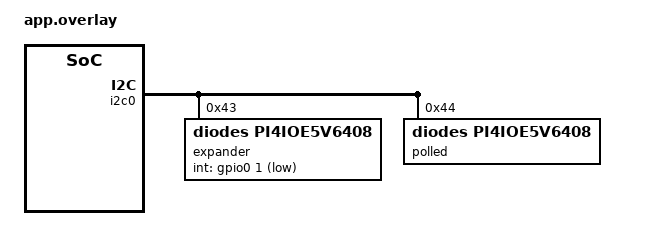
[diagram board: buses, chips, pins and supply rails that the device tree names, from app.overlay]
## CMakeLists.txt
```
# SPDX-FileCopyrightText: Copyright The Zephyr Project Contributors
# SPDX-License-Identifier: Apache-2.0

cmake_minimum_required(VERSION 3.28.0)
find_package(Zephyr REQUIRED HINTS $ENV{ZEPHYR_BASE})
project(pi4ioe5v6408_interrupts)

target_sources(app PRIVATE
  src/main.c
)
```

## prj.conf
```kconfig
# SPDX-FileCopyrightText: Copyright The Zephyr Project Contributors
# SPDX-License-Identifier: Apache-2.0

CONFIG_ZTEST=y
CONFIG_GPIO=y
CONFIG_GPIO_EMUL=y
CONFIG_I2C=y
CONFIG_I2C_EMUL=y
CONFIG_EMUL=y
CONFIG_GPIO_PI4IOE5V6408_POLL_PERIOD_MS=5
CONFIG_COMPILER_WARNINGS_AS_ERRORS=y
```

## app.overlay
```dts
/*
 * SPDX-FileCopyrightText: Copyright The Zephyr Project Contributors
 * SPDX-License-Identifier: Apache-2.0
 */

&i2c0 {
	status = "okay";

	expander: gpio@43 {
		compatible = "diodes,pi4ioe5v6408";
		reg = <0x43>;
		gpio-controller;
		#gpio-cells = <2>;
		ngpios = <8>;
		int-gpios = <&gpio0 1 GPIO_ACTIVE_LOW>;
	};

	polled: gpio@44 {
		compatible = "diodes,pi4ioe5v6408";
		reg = <0x44>;
		gpio-controller;
		#gpio-cells = <2>;
		ngpios = <8>;
	};
};
```

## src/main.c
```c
/*
 * SPDX-FileCopyrightText: Copyright The Zephyr Project Contributors
 * SPDX-License-Identifier: Apache-2.0
 */

#include <string.h>

#include <zephyr/drivers/emul.h>
#include <zephyr/drivers/gpio/gpio_emul.h>
#include <zephyr/drivers/i2c_emul.h>
#include <zephyr/kernel.h>
#include <zephyr/sys/atomic.h>
#include <zephyr/ztest.h>

#define DEVICE_ID    0x01U
#define DEFAULT      0x09U
#define PULL_ENABLE  0x0BU
#define INPUT        0x0FU
#define MASK         0x11U
#define STATUS       0x13U
#define REGISTER_END 0x14U

static const struct device *const devices[] = {
	DEVICE_DT_GET(DT_NODELABEL(expander)),
	DEVICE_DT_GET(DT_NODELABEL(polled)),
};
static const struct gpio_dt_spec irq = GPIO_DT_SPEC_GET(DT_NODELABEL(expander), int_gpios);

struct chip {
	uint8_t regs[REGISTER_END];
	uint8_t input;
	uint8_t pending;
	uint8_t fail_reg;
	uint8_t first_pull;
	uint32_t failures;
	uint32_t id_reads;
	uint32_t acknowledgements;
	int64_t first_failure;
	int64_t last_failure;
	bool fail_read;
	bool lands;
	bool reset;
	bool pull_written;
};

static struct chip chips[2];
static K_MUTEX_DEFINE(model_lock);
static K_SEM_DEFINE(activity, 0, 1);
static atomic_t calls[2][8];
static bool startup_serviced;

static int update_irq(void)
{
	bool active = chips[0].reset || (chips[0].pending & ~chips[0].regs[MASK]) != 0U;

	return gpio_emul_input_set(irq.port, irq.pin, !active);
}

static int transfer(const struct emul *target, struct i2c_msg *msgs, int num_msgs, int addr)
{
	struct chip *chip = &chips[addr == 0x43 ? 0 : 1];
	bool read = num_msgs == 2;
	uint8_t reg = msgs[0].buf[0];
	bool fail;
	int ret;

	ARG_UNUSED(target);
	if ((addr != 0x43 && addr != 0x44) || reg >= REGISTER_END ||
	    (read &&
	     (msgs[0].len != 1U || msgs[1].len != 1U || (msgs[1].flags & I2C_MSG_READ) == 0U)) ||
	    (!read && (num_msgs != 1 || msgs[0].len != 2U))) {
		return -EIO;
	}

	k_mutex_lock(&model_lock, K_FOREVER);
	fail = chip->failures > 0U && chip->fail_reg == reg && chip->fail_read == read;
	if (fail) {
		if (chip->first_failure == 0) {
			chip->first_failure = k_uptime_get();
		}
		chip->last_failure = k_uptime_get();
		chip->failures--;
	}
	if (!fail || chip->lands) {
		if (read) {
			switch (reg) {
			case DEVICE_ID:
				msgs[1].buf[0] = 0xA0U | (chip->reset ? BIT(1) : 0U);
				chip->reset = false;
				chip->id_reads++;
				break;
			case INPUT:
				msgs[1].buf[0] = chip->input;
				break;
			case STATUS:
				msgs[1].buf[0] = chip->pending;
				chip->pending = 0U;
				break;
			default:
				msgs[1].buf[0] = chip->regs[reg];
				break;
			}
		} else if (reg == DEVICE_ID && (msgs[0].buf[1] & BIT(0)) != 0U) {
			memset(chip->regs, 0, sizeof(chip->regs));
			chip->regs[0x07U] = 0xFFU;
			chip->regs[PULL_ENABLE] = 0xFFU;
			chip->reset = true;
		} else {
			chip->regs[reg] = msgs[0].buf[1];
			if (reg == PULL_ENABLE && !chip->pull_written) {
				chip->first_pull = msgs[0].buf[1];
				chip->pull_written = true;
			}
		}
	}
	if (read && reg == STATUS && !fail) {
		chip->acknowledgements++;
		if (chip == &chips[0] && chip->acknowledgements == 1U) {
			/* Latch an edge after init's status read, before the host IRQ is armed. */
			chip->input = 1U;
			chip->pending = 1U;
		}
	}
	ret = update_irq();
	k_mutex_unlock(&model_lock);
	k_sem_give(&activity);
	return ret < 0 ? ret : (fail ? -EIO : 0);
}

static int emul_init(const struct emul *target, const struct device *parent)
{
	ARG_UNUSED(target);
	ARG_UNUSED(parent);
	return gpio_pin_configure_dt(&irq, GPIO_INPUT);
}

static const struct i2c_emul_api emul_api = {.transfer = transfer};

EMUL_DT_DEFINE(DT_NODELABEL(expander), emul_init, NULL, NULL, &emul_api, NULL);
EMUL_DT_DEFINE(DT_NODELABEL(polled), emul_init, NULL, NULL, &emul_api, NULL);

static void callback(const struct device *dev, struct gpio_callback *cb, uint32_t pins)
{
	size_t index = dev == devices[0] ? 0U : 1U;

	ARG_UNUSED(cb);
	zassert_equal_ptr(k_current_get(), k_work_queue_thread_get(&k_sys_work_q));
	zassert_not_equal(pins, 0U);
	for (size_t i = 0; i < 8U; i++) {
		if ((pins & BIT(i)) != 0U) {
			atomic_inc(&calls[index][i]);
		}
	}
	k_sem_give(&activity);
}

static void barrier_handler(struct k_work *work)
{
	ARG_UNUSED(work);
}

static void flush(void)
{
	static K_WORK_DEFINE(barrier, barrier_handler);
	struct k_work_sync sync;

	zassert_true(k_work_submit(&barrier) >= 0);
	(void)k_work_flush(&barrier, &sync);
}

static void input_set(size_t index, uint8_t input)
{
	struct chip *chip = &chips[index];
	uint8_t changed;

	k_mutex_lock(&model_lock, K_FOREVER);
	changed = chip->input ^ input;
	chip->input = input;
	chip->pending |= changed & (input ^ chip->regs[DEFAULT]);
	zassert_ok(update_irq());
	k_mutex_unlock(&model_lock);
}

static uint32_t acknowledgements(void)
{
	uint32_t value;

	k_mutex_lock(&model_lock, K_FOREVER);
	value = chips[0].acknowledgements;
	k_mutex_unlock(&model_lock);
	return value;
}

static void wait_ack(uint32_t previous)
{
	int64_t deadline = k_uptime_get() + 1000;

	while (acknowledgements() <= previous) {
		zassert_true(k_uptime_get() < deadline, "Interrupt service did not recover");
		(void)k_sem_take(&activity, K_MSEC(5));
	}
	flush();
}

static void wait_calls(size_t index, size_t pin, atomic_val_t expected)
{
	int64_t deadline = k_uptime_get() + 1000;

	while (atomic_get(&calls[index][pin]) < expected) {
		zassert_true(k_uptime_get() < deadline, "Missing pin %zu callback", pin);
		(void)k_sem_take(&activity, K_MSEC(5));
	}
	flush();
	zassert_equal(atomic_get(&calls[index][pin]), expected);
}

static void fail_at(uint8_t reg, bool read, bool lands, uint32_t count)
{
	k_mutex_lock(&model_lock, K_FOREVER);
	chips[0].fail_reg = reg;
	chips[0].fail_read = read;
	chips[0].lands = lands;
	chips[0].failures = count;
	chips[0].first_failure = 0;
	chips[0].last_failure = 0;
	k_mutex_unlock(&model_lock);
}

static void *setup(void)
{
	static struct gpio_callback callbacks[2];
	int64_t deadline = k_uptime_get() + 1000;

	while (acknowledgements() < 2U && k_uptime_get() < deadline) {
		(void)k_sem_take(&activity, K_MSEC(5));
	}
	startup_serviced = acknowledgements() >= 2U && gpio_pin_get_dt(&irq) == 0;
	flush();

	for (size_t i = 0; i < ARRAY_SIZE(devices); i++) {
		zassert_true(device_is_ready(devices[i]));
		gpio_init_callback(&callbacks[i], callback, 0xFFU);
		zassert_ok(gpio_add_callback(devices[i], &callbacks[i]));
	}
	return NULL;
}

static void before(void *fixture)
{
	static const struct i2c_dt_spec buses[] = {
		I2C_DT_SPEC_GET(DT_NODELABEL(expander)),
		I2C_DT_SPEC_GET(DT_NODELABEL(polled)),
	};

	ARG_UNUSED(fixture);
	fail_at(0U, false, false, 0U);
	flush();
	for (size_t i = 0; i < ARRAY_SIZE(devices); i++) {
		uint8_t scratch;

		for (size_t pin = 0; pin < 8U; pin++) {
			zassert_ok(gpio_pin_interrupt_configure(devices[i], pin, GPIO_INT_DISABLE));
		}
		input_set(i, 0U);
		for (size_t pin = 0; pin < 8U; pin++) {
			zassert_ok(gpio_pin_configure(devices[i], pin, GPIO_INPUT));
			zassert_ok(
				gpio_pin_interrupt_configure(devices[i], pin, GPIO_INT_EDGE_BOTH));
		}
		if (i == 1U) {
			k_msleep(10);
		}
		for (size_t pin = 0; pin < 8U; pin++) {
			zassert_ok(gpio_pin_interrupt_configure(devices[i], pin, GPIO_INT_DISABLE));
		}
		zassert_ok(i2c_reg_read_byte_dt(&buses[i], STATUS, &scratch));
	}
	flush();
	for (size_t i = 0; i < ARRAY_SIZE(devices); i++) {
		for (size_t pin = 0; pin < 8U; pin++) {
			atomic_clear(&calls[i][pin]);
		}
	}
}

ZTEST(pi4ioe5v6408, test_reset_and_initial_pulls)
{
	for (size_t i = 0; i < ARRAY_SIZE(chips); i++) {
		zassert_equal(chips[i].id_reads, 1U);
		zassert_false(chips[i].reset);
		zassert_equal(chips[i].first_pull, 0xFEU);
	}
}

ZTEST(pi4ioe5v6408, test_startup_interrupt_is_serviced)
{
	zassert_true(startup_serviced, "Interrupt latched before host IRQ setup was not serviced");
}

struct held_work {
	struct k_work work;
	struct k_sem entered;
	struct k_sem release;
};

static void hold_workqueue(struct k_work *work)
{
	struct held_work *held = CONTAINER_OF(work, struct held_work, work);

	k_sem_give(&held->entered);
	(void)k_sem_take(&held->release, K_FOREVER);
}

ZTEST(pi4ioe5v6408, test_reconfiguration_preserves_pending_edge)
{
	for (size_t pin = 0; pin < 8U; pin++) {
		struct held_work held;
		struct k_work_sync sync;
		uint32_t previous = acknowledgements();
		int ret;

		zassert_ok(gpio_pin_interrupt_configure(devices[0], pin, GPIO_INT_EDGE_BOTH));
		k_sem_init(&held.entered, 0, 1);
		k_sem_init(&held.release, 0, 1);
		k_work_init(&held.work, hold_workqueue);
		zassert_true(k_work_submit(&held.work) >= 0);
		zassert_ok(k_sem_take(&held.entered, K_SECONDS(1)));
		input_set(0U, (uint8_t)BIT(pin));
		ret = gpio_pin_interrupt_configure(devices[0], pin, GPIO_INT_EDGE_BOTH);
		k_sem_give(&held.release);
		(void)k_work_flush(&held.work, &sync);
		zassert_ok(ret);
		wait_ack(previous);
		wait_calls(0U, pin, 1);
		previous = acknowledgements();
		input_set(0U, 0U);
		wait_ack(previous);
		wait_calls(0U, pin, 2);
		zassert_ok(gpio_pin_interrupt_configure(devices[0], pin, GPIO_INT_DISABLE));
	}
}

ZTEST(pi4ioe5v6408, test_all_pins_and_edge_modes)
{
	const gpio_flags_t modes[] = {GPIO_INT_EDGE_RISING, GPIO_INT_EDGE_FALLING,
				      GPIO_INT_EDGE_BOTH};

	for (size_t pin = 0; pin < 8U; pin++) {
		for (size_t mode = 0; mode < ARRAY_SIZE(modes); mode++) {
			atomic_clear(&calls[0][pin]);
			zassert_ok(gpio_pin_interrupt_configure(devices[0], pin, modes[mode]));
			for (size_t edge = 0; edge < 8U; edge++) {
				uint32_t previous = acknowledgements();

				input_set(0U, (edge & 1U) == 0U ? BIT(pin) : 0U);
				wait_ack(previous);
			}
			zassert_equal(atomic_get(&calls[0][pin]), mode == 2U ? 8 : 4);
			zassert_ok(gpio_pin_interrupt_configure(devices[0], pin, GPIO_INT_DISABLE));
		}
	}
}

ZTEST(pi4ioe5v6408, test_unsubscribed_interrupt_is_acknowledged)
{
	uint32_t previous = acknowledgements();

	k_mutex_lock(&model_lock, K_FOREVER);
	chips[0].regs[MASK] = 0U;
	k_mutex_unlock(&model_lock);
	input_set(0U, 1U);
	wait_ack(previous);
	zassert_equal(atomic_get(&calls[0][0]), 0);
	zassert_equal(gpio_pin_get_dt(&irq), 0);
}

static void recovery(uint8_t reg, bool read, bool lands, uint32_t failures)
{
	uint32_t previous = acknowledgements();

	zassert_ok(gpio_pin_interrupt_configure(devices[0], 0, GPIO_INT_EDGE_BOTH));
	fail_at(reg, read, lands, failures);
	input_set(0U, 1U);
	wait_ack(previous);
	wait_calls(0U, 0U, 1);
	zassert_equal(chips[0].regs[DEFAULT] & 1U, 1U);
	zassert_equal(gpio_pin_get_dt(&irq), 0);
	previous = acknowledgements();
	input_set(0U, 0U);
	wait_ack(previous);
	wait_calls(0U, 0U, 2);
}

ZTEST(pi4ioe5v6408, test_input_read_failure_recovers)
{
	recovery(INPUT, true, false, 1U);
}

ZTEST(pi4ioe5v6408, test_default_write_failure_recovers)
{
	recovery(DEFAULT, false, false, 1U);
}

ZTEST(pi4ioe5v6408, test_default_write_error_after_effect_recovers)
{
	recovery(DEFAULT, false, true, 1U);
}

ZTEST(pi4ioe5v6408, test_status_read_failure_recovers)
{
	recovery(STATUS, true, false, 1U);
}

ZTEST(pi4ioe5v6408, test_status_read_error_after_effect_recovers)
{
	recovery(STATUS, true, true, 1U);
}

ZTEST(pi4ioe5v6408, test_retries_are_delayed)
{
	recovery(INPUT, true, false, 3U);
	zassert_true(chips[0].last_failure - chips[0].first_failure >= 10,
		     "Repeated I2C errors caused immediate retries");
}

ZTEST(pi4ioe5v6408, test_polling_edges)
{
	zassert_ok(gpio_pin_interrupt_configure(devices[1], 0, GPIO_INT_EDGE_BOTH));
	for (size_t edge = 0; edge < 8U; edge++) {
		input_set(1U, (edge & 1U) == 0U ? 1U : 0U);
		wait_calls(1U, 0U, edge + 1U);
	}
}

ZTEST(pi4ioe5v6408, test_input_defaults_follow_each_subscribed_pin)
{
	const uint8_t levels[] = {0x01U, 0x81U, 0x80U, 0x00U};
	uint32_t previous = acknowledgements();

	zassert_ok(gpio_pin_interrupt_configure(devices[0], 0, GPIO_INT_EDGE_BOTH));
	input_set(0U, levels[0]);
	wait_ack(previous);
	zassert_ok(gpio_pin_interrupt_configure(devices[0], 7, GPIO_INT_EDGE_BOTH));
	zassert_equal(chips[0].regs[DEFAULT] & 0x81U, levels[0]);
	for (size_t i = 1; i < ARRAY_SIZE(levels); i++) {
		previous = acknowledgements();

		input_set(0U, levels[i]);
		wait_ack(previous);
		zassert_equal(chips[0].regs[DEFAULT] & 0x81U, levels[i]);
	}
	zassert_equal(atomic_get(&calls[0][0]), 2);
	zassert_equal(atomic_get(&calls[0][7]), 2);
}

ZTEST(pi4ioe5v6408, test_failed_configuration_keeps_previous_subscription)
{
	const uint8_t fail_regs[] = {INPUT, DEFAULT, MASK};

	for (size_t i = 0; i < ARRAY_SIZE(fail_regs); i++) {
		for (size_t lands = 0; lands < 2U; lands++) {
			uint32_t previous;

			before(NULL);
			zassert_ok(gpio_pin_interrupt_configure(devices[0], 7, GPIO_INT_EDGE_BOTH));
			fail_at(fail_regs[i], fail_regs[i] == INPUT, lands != 0U, 1U);
			zassert_equal(
				gpio_pin_interrupt_configure(devices[0], 0, GPIO_INT_EDGE_BOTH),
				-EIO);
			previous = acknowledgements();
			input_set(0U, 0x81U);
			wait_ack(previous);
			zassert_equal(atomic_get(&calls[0][0]), 0);
			zassert_equal(atomic_get(&calls[0][7]), 1);
		}
	}
}

ZTEST(pi4ioe5v6408, test_unsubscribed_status_failure_recovers)
{
	for (size_t lands = 0; lands < 2U; lands++) {
		uint32_t previous;

		before(NULL);
		previous = acknowledgements();
		fail_at(STATUS, true, lands != 0U, 1U);
		k_mutex_lock(&model_lock, K_FOREVER);
		chips[0].regs[MASK] = 0U;
		k_mutex_unlock(&model_lock);
		input_set(0U, 1U);
		wait_ack(previous);
		zassert_equal(atomic_get(&calls[0][0]), 0);
		zassert_equal(gpio_pin_get_dt(&irq), 0);
	}
}

ZTEST(pi4ioe5v6408, test_captured_callback_is_not_repeated)
{
	recovery(DEFAULT, false, false, 3U);
}

ZTEST_SUITE(pi4ioe5v6408, NULL, setup, before, NULL, NULL);
```
